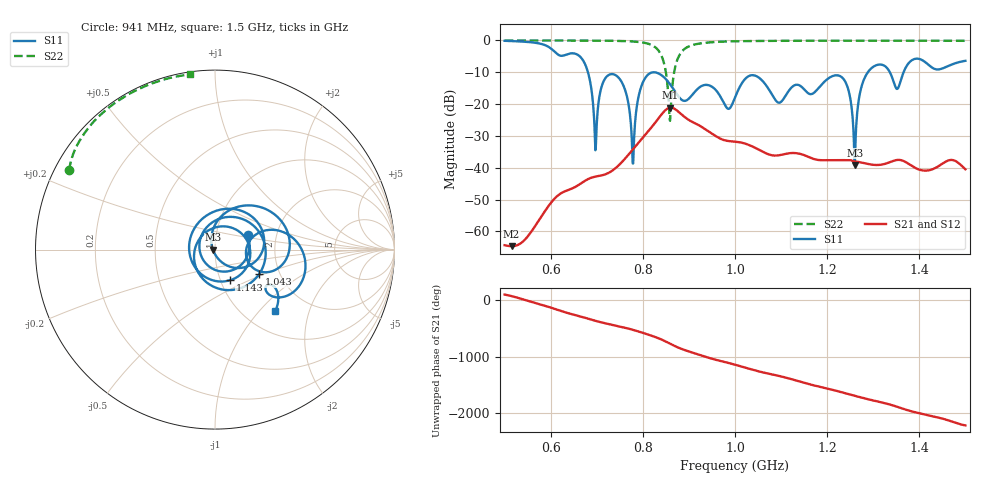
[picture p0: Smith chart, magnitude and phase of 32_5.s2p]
! TOUCHSTONE file generated by CST MICROWAVE STUDIO
! Date and time: Mon Nov 30 08:10:10 2020
! Project name: Scenario_1_Planar_Body_Tissue_Out_of_Line.cst
! Parameters = {dy1=190.3; L_HA=400; Ltissue=700; MT=2.54; Rad_Dielectric=30; Rad_Lower=7.3; Rad_Upper=30; Wtissue=700; a_HA=580; a_WG=246; b_HA=500; b_WG=121; c_HA=0; c_WG=187; d_feed=85; dx1=866; h_feed=15; h_lower=18; h_upper=40; hfat=3; hgap=25; hmuscle=50; hskin=1.5}
! Header version: 2018
! Port assignment regex: !\s*Touchstone port\s*([0-9]+)\s*=\s*(CST MWS port|CST DS port)\s*([0-9]+|Zmin|Zmax)\s*\(\"(.*)\"\)(\s*mode\s*([0-9]+))?.*
! Touchstone port assignment:
! Touchstone port 1 = CST MWS port 1 ("")
! Touchstone port 2 = CST MWS port 2 ("")
# GHz S DB R 50
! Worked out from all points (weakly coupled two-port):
!   1003 points, 500 MHz to 1.5 GHz, reference 50 ohm
!   highest |S21| = -21.09 dB at 860 MHz (marker M1); lowest = -64.6 dB at 515 MHz (marker M2)
!   lowest |S11| = -39.1 dB at 1.26 GHz (marker M3), VSWR 1.02, Z = 48.9 - j0.123 ohm
!   |S11| at or under -10 dB: 680.9 MHz to 822.7 MHz (141.8 MHz wide, 18.9 % of centre); 825.1 MHz to 1.288 GHz (463.3 MHz wide, 43.8 % of centre); 1.336 GHz to 1.366 GHz (29.73 MHz wide, 2.2 % of centre)
!   |S22| runs from -25.2 to 0.0 dB; largest |S21 - S12| = 2.8e-05
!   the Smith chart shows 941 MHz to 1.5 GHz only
!   S11 on the Smith chart (normalised r, x): 941 MHz: 1.42, +0.25; 1.043 GHz: 1.57, -0.47; 1.143 GHz: 1.12, -0.39; 1.5 GHz: 1.38, -1.23
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0.5  -0.11 -122.1  -64.32 96.6  -64.32 96.6  -0.01 151.2
0.515  -0.20 -128.4  -64.62 69.5  -64.61 69.3  -0.01 150.2
0.583  -1.24 -168.1  -54.59 -91.1  -54.58 -91.2  -0.02 145.4
0.667  -5.60 124.4  -44.78 64.0  -44.78 64.0  -0.04 138.4
0.697  -34.48 124.8  -42.78 -7.4  -42.78 -7.4  -0.06 135.2
0.738  -10.71 138.8  -40.43 -85.1  -40.43 -85.1  -0.13 129.7
0.763  -16.24 84.5  -36.85 -132.6  -36.85 -132.6  -0.22 124.9
0.778  -38.62 -9.6  -34.30 -165.6  -34.30 -165.6  -0.33 121.1
0.799  -13.53 179.2  -30.72 143.0  -30.72 143.0  -0.63 113.4
0.834  -10.36 75.9  -24.47 44.5  -24.47 44.5  -3.19 85.0
0.86  -13.94 -5.3  -21.09 -55.0  -21.09 -55.0  -23.16 -88.2
0.882  -18.36 -91.0  -22.99 -136.9  -22.99 -136.9  -4.01 -173.5
0.941  -14.01 24.6  -28.46 64.6  -28.46 64.6  -0.67 151.4
1  -17.94 115.3  -31.78 -61.7  -31.78 -61.7  -0.27 140.3
1.043  -11.02 -29.1  -33.66 -161.2  -33.66 -161.2  -0.18 135.2
1.143  -14.39 -63.2  -35.69 -6.5  -35.69 -6.5  -0.10 126.2
1.167  -16.81 178.3  -37.03 -58.6  -37.03 -58.6  -0.10 124.2
1.232  -11.58 -2.2  -37.58 171.1  -37.58 171.1  -0.08 119.3
1.26  -39.10 -173.5  -37.98 108.9  -37.98 108.9  -0.08 117.1
1.284  -11.00 59.3  -38.66 57.8  -38.66 57.7  -0.08 115.4
1.334  -9.46 -21.2  -38.35 -40.4  -38.35 -40.4  -0.08 111.6
1.5  -6.39 -45.4  -40.47 -54.6  -40.47 -54.6  -0.13 98.0
